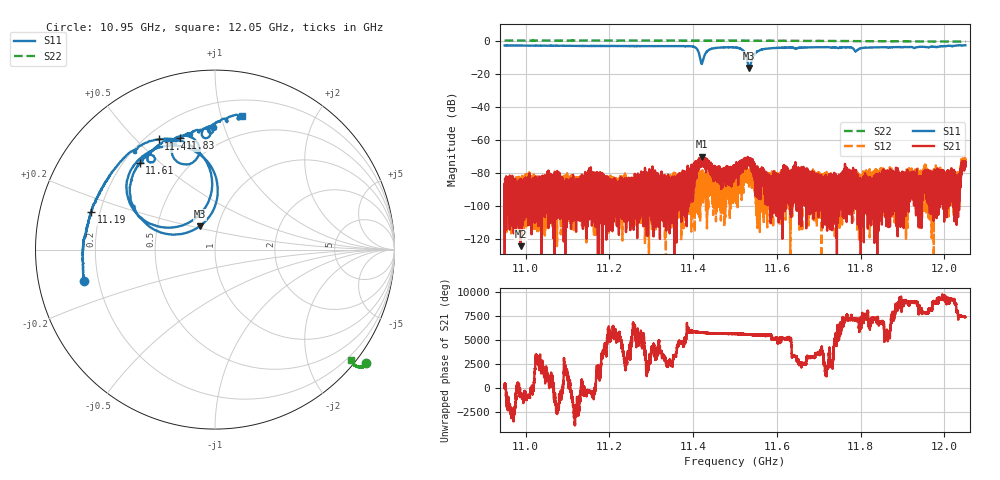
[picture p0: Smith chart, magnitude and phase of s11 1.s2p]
!Agilent Technologies,E8362C,MY49020356,A.09.42.23
!Agilent E8362C: A.09.42.23
!Date: Saturday, September 11, 2021 04:16:11
!Correction: S11(Full 2 Port(1,2))
!S21(Full 2 Port(1,2))
!S12(Full 2 Port(1,2))
!S22(Full 2 Port(1,2))
!S2P File: Measurements: S11, S21, S12, S22:
# Hz S  MA  R 50
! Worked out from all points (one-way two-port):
!   32001 points, 10.95 GHz to 12.05 GHz, reference 50 ohm
!   highest |S21| = -69.97 dB at 11.42 GHz (marker M1); lowest = -124.4 dB at 10.99 GHz (marker M2)
!   lowest |S11| = -16.2 dB at 11.53 GHz (marker M3), VSWR 1.37, Z = 40.9 + j10.8 ohm
!   |S11| at or under -10 dB: 11.41658 GHz to 11.42527 GHz (8.694 MHz wide, 0.0761 % of centre); 11.52779 GHz to 11.54182 GHz (14.03 MHz wide, 0.122 % of centre)
!   |S22| runs from -0.3 to 0.5 dB; largest |S21 - S12| = 0.00037
!   S11 on the Smith chart (normalised r, x): 10.95 GHz: 0.15, -0.12; 11.19 GHz: 0.17, +0.14; 11.4 GHz: 0.25, +0.58; 11.61 GHz: 0.26, +0.43; 11.83 GHz: 0.32, +0.69; 12.05 GHz: 0.33, +1.17
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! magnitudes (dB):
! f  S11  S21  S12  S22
! 10.95 GHz  -2.5  -94.5  -91.6  0.4
! 10.99 GHz  -2.6  -124.4  -91.1  0.5
! 11.13 GHz  -2.8  -90.4  -92.1  0.5
! 11.19 GHz  -2.8  -89.5  -100.8  0.5
! 11.32 GHz  -2.9  -82.9  -88.9  0.4
! 11.4 GHz  -3.2  -89.5  -101.6  0.4
! 11.41 GHz  -4.7  -75.6  -95.2  0.4
! 11.42 GHz  -13.7  -70.0  -87.2  0.4
! 11.44 GHz  -4.7  -79.6  -82.4  0.4
! 11.47 GHz  -3.8  -81.0  -86.5  0.4
! 11.5 GHz  -3.8  -75.7  -83.1  0.4
! 11.52 GHz  -5.6  -73.1  -84.0  0.4
! 11.53 GHz  -16.2  -73.0  -82.7  0.4
! 11.56 GHz  -5.8  -78.5  -95.0  0.4
! 11.61 GHz  -3.9  -86.6  -88.4  0.3
! 11.68 GHz  -3.7  -87.1  -85.4  0.2
! 11.77 GHz  -3.6  -83.4  -92.1  0.2
! 11.79 GHz  -6.0  -91.0  -90.2  0.1
! 11.83 GHz  -3.7  -92.4  -89.7  0.1
! 11.87 GHz  -3.8  -90.4  -80.8  0.0
! 12.03 GHz  -2.5  -83.7  -82.8  -0.2
! 12.05 GHz  -2.4  -73.7  -72.5  -0.2
